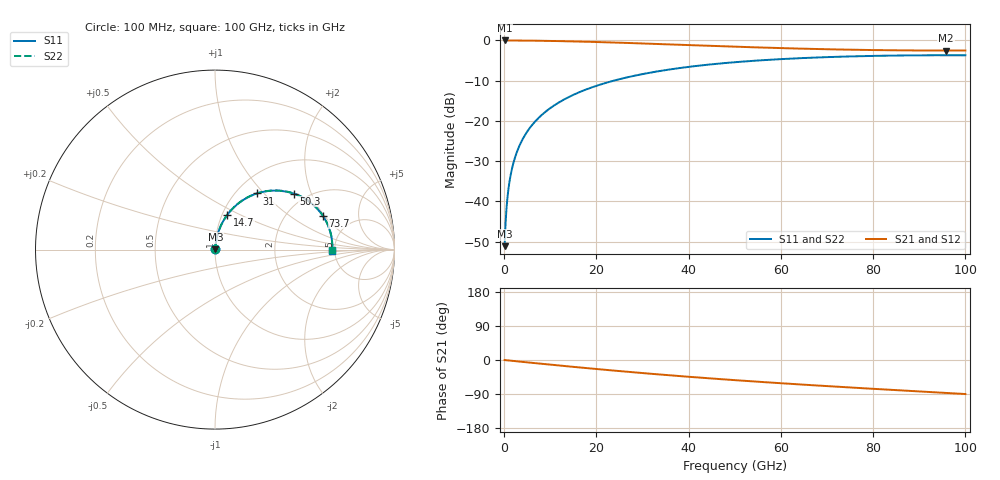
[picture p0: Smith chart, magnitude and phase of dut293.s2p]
! Touchstone file exported from HFSS 2026.1.0
!  File:  C:/ffzhzh/LocalFiles/Ansys_Project_Files/temp_train_RDL_293_1783502235_44152.aedt
!  Generated:  05:18:29 PM Jul  8, 2026
!  Design:  RDL
!  Project:  temp_train_RDL_293_1783502235_44152
! Variables:
!  h_bsmrdl = 2um
!  h_ox = 20um
!  h_rdl = 5um
!  h_sub = 80um
!  h_tmrdl = 3.16um
!  h_tsv = 80um
!  h_via = 3um
!  l_bsmrdl = 300um
!  l_sub = 685.96um
!  l_tmrdl = 285.96um
!  m_sub = 200um
!  pitch = 46.06um
!  r_tsv = 6um
!  s_tmrdl = 10um
!  w_bsmrdl = 18um
!  w_sub = 500um
!  w_tmrdl = 15.04um
!  x_tsv_center1 = 293.48um
!  x_tsv_center2 = 611.48um
!  x_tsv_center3 = 912.48um
!  x_tsv_center4 = 1230.48um
!  x_tsv_center5 = 1531.48um
!  x_tsv_center6 = 1849.48um
# GHz S MA R 50.000000
! Terminal data exported
! Port[1] = TM_RDL1_1_T1
! Port[2] = TM_RDL1_1_T2
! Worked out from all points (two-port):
!   1000 points, 100 MHz to 100 GHz, reference 50 ohm
!   highest |S21| = -0.02 dB at 100 MHz (marker M1); lowest = -2.5 dB at 95.8 GHz (marker M2)
!   |S21| within 3 dB of the highest: start of sweep to end of sweep
!   lowest |S11| = -51.1 dB at 100 MHz (marker M3), VSWR 1.01, Z = 50.2 + j0.157 ohm
!   |S11| at or under -10 dB: start of sweep to 23.78 GHz
!   |S22| runs from -51.1 to -3.7 dB; largest |S21 - S12| = 4.3e-15
!   S11 on the Smith chart (normalised r, x): 100 MHz: 1.00, +0.00; 14.7 GHz: 1.06, +0.43; 31 GHz: 1.24, +0.92; 50.3 GHz: 1.72, +1.51; 73.7 GHz: 3.08, +1.93; 100 GHz: 4.76, -0.10
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0.1  0.002784 34.2  0.9977 -0.1  0.9977 -0.1  0.002784 34.3
! Gamma 0 0 0 0
! Port Impedance 50 0 50 0
0.4  0.006647 67.8  0.9975 -0.5  0.9975 -0.5  0.006646 67.8
0.9  0.01384 77.7  0.9972 -1.1  0.9972 -1.1  0.01384 77.7
1.4  0.02112 80.7  0.997 -1.8  0.997 -1.8  0.02112 80.7
1.9  0.02844 81.8  0.9967 -2.4  0.9967 -2.4  0.02844 81.8
2.4  0.03577 82.2  0.9964 -3.0  0.9964 -3.0  0.03577 82.2
3.7  0.05479 82.0  0.9952 -4.6  0.9952 -4.6  0.05479 82.0
5.6  0.08231 80.4  0.9928 -6.9  0.9928 -6.9  0.08231 80.4
8  0.1164 77.9  0.9887 -9.8  0.9887 -9.8  0.1164 77.9
11  0.1578 74.5  0.982 -13.4  0.982 -13.4  0.1578 74.6
14.7  0.2068 70.4  0.9719 -17.8  0.9719 -17.8  0.2068 70.5
16.8  0.2335 68.1  0.9654 -20.2  0.9654 -20.2  0.2335 68.2
23.2  0.3097 61.2  0.9428 -27.3  0.9428 -27.3  0.3097 61.3
31  0.3911 53.1  0.9116 -35.5  0.9116 -35.5  0.3911 53.3
33.4  0.4135 50.8  0.9016 -37.9  0.9016 -37.9  0.4134 50.9
50.1  0.5362 35.7  0.8347 -53.3  0.8347 -53.3  0.5362 35.9
50.3  0.5374 35.5  0.834 -53.4  0.834 -53.4  0.5374 35.7
66.7  0.6096 22.6  0.7835 -66.4  0.7835 -66.4  0.6096 23.0
73.7  0.629 17.5  0.7683 -71.6  0.7683 -71.6  0.629 17.9
83.4  0.6464 10.8  0.7541 -78.4  0.7541 -78.4  0.6464 11.2
95.8  0.654 2.3  0.7476 -86.9  0.7476 -86.9  0.654 2.8
100  0.653 -0.5  0.7483 -89.8  0.7483 -89.8  0.653 -0.0
